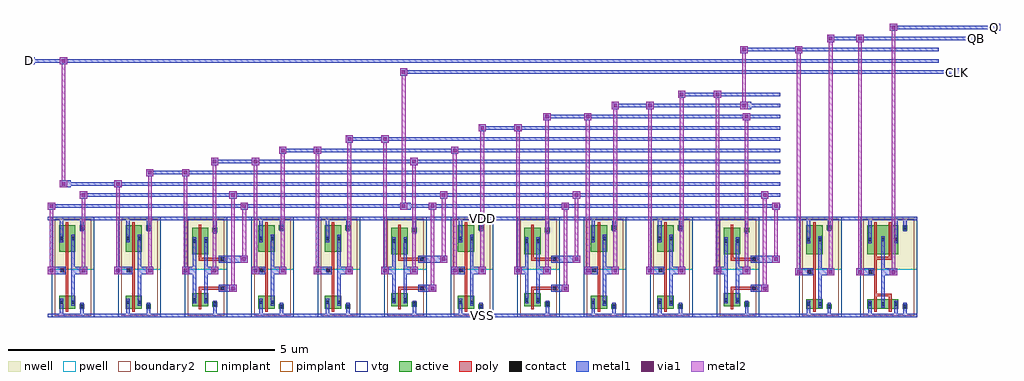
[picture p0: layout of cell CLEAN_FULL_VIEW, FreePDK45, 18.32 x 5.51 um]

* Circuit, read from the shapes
.subckt CLEAN_FULL_VIEW CLK D Q QB VDD VSS
M1 n1 CLK VSS VSS nfet w=0.25u l=0.05u
M2 n2 D VSS VSS nfet w=0.25u l=0.05u
M3 n3 n1 n2 VSS nfet w=0.249u l=0.05u
M4 n4 n3 VSS VSS nfet w=0.25u l=0.05u
M5 n5 n4 VSS VSS nfet w=0.25u l=0.05u
M6 n3 CLK n5 VSS nfet w=0.249u l=0.051u
M7 n6 n4 VSS VSS nfet w=0.25u l=0.05u
M8 n7 CLK n6 VSS nfet w=0.249u l=0.05u
M9 n8 n7 VSS VSS nfet w=0.25u l=0.05u
M10 n9 n8 VSS VSS nfet w=0.25u l=0.051u
M11 n7 n1 n9 VSS nfet w=0.249u l=0.05u
M12 QB n8 VSS VSS nfet w=0.181u l=0.05u
M13 Q QB VSS VSS nfet w=0.181u l=0.05u m=2
M14 n1 CLK VDD VDD pfet w=0.499u l=0.05u
M15 n2 D VDD VDD pfet w=0.499u l=0.05u
M16 n3 CLK n2 VDD pfet w=0.5u l=0.05u
M17 n4 n3 VDD VDD pfet w=0.499u l=0.05u
M18 n5 n4 VDD VDD pfet w=0.499u l=0.05u
M19 n3 n1 n5 VDD pfet w=0.5u l=0.051u
M20 n6 n4 VDD VDD pfet w=0.499u l=0.05u
M21 n7 n1 n6 VDD pfet w=0.5u l=0.05u
M22 n8 n7 VDD VDD pfet w=0.499u l=0.05u
M23 n9 n8 VDD VDD pfet w=0.499u l=0.051u
M24 n7 CLK n9 VDD pfet w=0.5u l=0.05u
M25 QB n8 VDD VDD pfet w=0.54u l=0.05u
M26 Q QB VDD VDD pfet w=0.54u l=0.05u m=2
.ends

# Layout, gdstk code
import gdstk
lib = gdstk.Library(unit=1e-6, precision=1e-09)
def R(c, l, rs):  # rectangles x0, y0, x1, y1
    for r in rs: c.add(gdstk.rectangle(r[:2], r[2:], *l))
def A(c, l, x, y, w, h, nx, ny, dx, dy):  # array of equal rectangles
    R(c, l, [(x+i*dx, y+j*dy, x+i*dx+w, y+j*dy+h) for i in range(nx) for j in range(ny)])
active = (1, 0)
pwell = (2, 0)
nwell = (3, 0)
nimplant = (4, 0)
pimplant = (5, 0)
vtg = (6, 0)
poly = (9, 0)
contact = (10, 0)
metal1 = (11, 0)
via1 = (12, 0)
metal2 = (13, 0)
boundary2 = (239, 0)

clean_full_view = lib.new_cell('CLEAN_FULL_VIEW')
A(clean_full_view, active, 5.197, 0.157, 0.305, 0.25, 3, 1, 2.495, 0)
A(clean_full_view, active, 15.377, 0.202, 0.09, 0.09, 3, 1, 0.245, 0)
A(clean_full_view, active, 5.197, 1.228, 0.305, 0.499, 3, 1, 2.495, 0)
A(clean_full_view, active, 15.377, 1.413, 0.09, 0.089, 3, 1, 0.245, 0)
R(clean_full_view, active, [(0.208,0.157,0.512,0.407), (0.593,0.157,0.683,0.248), (1.455,0.157,1.76,0.407), (1.84,0.157,1.93,0.248), (3.95,0.157,4.255,0.407), (4.335,0.157,4.425,0.248), (5.582,0.157,5.672,0.248), (8.078,0.157,8.167,0.248), (10.572,0.157,10.662,0.248), (11.435,0.157,11.74,0.407), (11.82,0.157,11.91,0.248), (14.23,0.157,14.535,0.338), (14.615,0.157,14.705,0.248), (15.377,0.157,15.957,0.338), (16.037,0.157,16.127,0.248), (3.087,0.202,3.178,0.292), (6.83,0.202,6.92,0.292), (9.325,0.202,9.415,0.292), (13.068,0.202,13.158,0.292), (14.23,0.202,14.32,0.292), (14.445,0.202,14.535,0.292), (2.703,0.203,3.008,0.452), (6.445,0.203,6.75,0.452), (8.94,0.203,9.245,0.452), (12.683,0.203,12.988,0.452), (0.208,0.238,0.297,0.328), (0.422,0.238,0.512,0.328), (1.455,0.238,1.545,0.328), (1.67,0.238,1.76,0.328), (3.95,0.238,4.04,0.328), (4.165,0.238,4.255,0.328), (5.197,0.238,5.287,0.328), (5.412,0.238,5.502,0.328), (7.692,0.238,7.782,0.328), (7.907,0.238,7.997,0.328), (10.187,0.238,10.277,0.328), (10.402,0.238,10.492,0.328), (11.435,0.238,11.525,0.328), (11.65,0.238,11.74,0.328), (2.703,0.282,2.792,0.373), (2.917,0.282,3.008,0.373), (6.445,0.282,6.535,0.373), (6.66,0.282,6.75,0.373), (8.94,0.282,9.03,0.373), (9.155,0.282,9.245,0.373), (12.683,0.282,12.773,0.373), (12.898,0.282,12.988,0.373), (2.703,1.183,3.008,1.683), (6.445,1.183,6.75,1.683), (8.94,1.183,9.245,1.683), (12.683,1.183,12.988,1.683), (14.23,1.187,14.535,1.727), (15.377,1.187,15.957,1.727), (0.208,1.228,0.512,1.727), (1.455,1.228,1.76,1.727), (3.95,1.228,4.255,1.727), (11.435,1.228,11.74,1.727), (2.703,1.388,2.792,1.477), (2.917,1.388,3.008,1.477), (6.445,1.388,6.535,1.477), (6.66,1.388,6.75,1.477), (8.94,1.388,9.03,1.477), (9.155,1.388,9.245,1.477), (12.683,1.388,12.773,1.477), (12.898,1.388,12.988,1.477), (14.23,1.413,14.32,1.502), (14.445,1.413,14.535,1.502), (0.208,1.433,0.297,1.522), (0.422,1.433,0.512,1.522), (1.455,1.433,1.545,1.522), (1.67,1.433,1.76,1.522), (3.95,1.433,4.04,1.522), (4.165,1.433,4.255,1.522), (5.197,1.433,5.287,1.522), (5.412,1.433,5.502,1.522), (7.692,1.433,7.782,1.522), (7.907,1.433,7.997,1.522), (10.187,1.433,10.277,1.522), (10.402,1.433,10.492,1.522), (11.435,1.433,11.525,1.522), (11.65,1.433,11.74,1.522), (3.087,1.592,3.178,1.683), (6.83,1.592,6.92,1.683), (9.325,1.592,9.415,1.683), (13.068,1.592,13.158,1.683), (0.593,1.637,0.683,1.727), (1.84,1.637,1.93,1.727), (4.335,1.637,4.425,1.727), (5.582,1.637,5.672,1.727), (8.078,1.637,8.167,1.727), (10.572,1.637,10.662,1.727), (11.82,1.637,11.91,1.727), (14.615,1.637,14.705,1.727), (16.037,1.637,16.127,1.727)])
A(clean_full_view, pwell, 0.072, 0, 0.798, 0.905, 5, 1, 2.495, 0)
A(clean_full_view, pwell, 1.32, 0, 0.797, 0.905, 5, 1, 2.495, 0)
A(clean_full_view, pwell, 15.322, 0.147, 0.2, 0.201, 3, 1, 0.245, 0)
R(clean_full_view, pwell, [(12.548,0,13.345,0.905), (14.095,0,14.892,0.905), (15.242,0,16.315,0.905), (0.127,0.077,0.593,0.488), (1.375,0.077,1.84,0.488), (3.87,0.077,4.335,0.488), (5.117,0.077,5.582,0.488), (7.612,0.077,8.078,0.488), (10.107,0.077,10.572,0.488), (11.355,0.077,11.82,0.488), (14.15,0.077,14.615,0.417), (15.297,0.077,16.037,0.417), (0.537,0.103,0.738,0.302), (1.785,0.103,1.985,0.302), (4.28,0.103,4.48,0.302), (5.527,0.103,5.727,0.302), (8.023,0.103,8.223,0.302), (10.517,0.103,10.717,0.302), (11.765,0.103,11.965,0.302), (14.56,0.103,14.76,0.302), (15.982,0.103,16.183,0.302), (2.622,0.123,3.087,0.532), (6.365,0.123,6.83,0.532), (8.86,0.123,9.325,0.532), (12.603,0.123,13.068,0.532), (3.033,0.147,3.232,0.348), (6.775,0.147,6.975,0.348), (9.27,0.147,9.47,0.348), (13.013,0.147,13.212,0.348), (14.175,0.147,14.375,0.348), (14.39,0.147,14.59,0.348), (0.152,0.182,0.352,0.382), (0.367,0.182,0.567,0.382), (1.4,0.182,1.6,0.382), (1.615,0.182,1.815,0.382), (3.895,0.182,4.095,0.382), (4.11,0.182,4.31,0.382), (5.142,0.182,5.342,0.382), (5.357,0.182,5.557,0.382), (7.637,0.182,7.837,0.382), (7.852,0.182,8.052,0.382), (10.133,0.182,10.332,0.382), (10.347,0.182,10.547,0.382), (11.38,0.182,11.58,0.382), (11.595,0.182,11.795,0.382), (2.647,0.227,2.848,0.427), (2.862,0.227,3.062,0.427), (6.39,0.227,6.59,0.427), (6.605,0.227,6.805,0.427), (8.885,0.227,9.085,0.427), (9.1,0.227,9.3,0.427), (12.628,0.227,12.828,0.427), (12.843,0.227,13.042,0.427)])
A(clean_full_view, nwell, 5.062, 0.905, 0.798, 0.982, 3, 1, 2.495, 0)
A(clean_full_view, nwell, 15.322, 1.357, 0.2, 0.2, 3, 1, 0.245, 0)
R(clean_full_view, nwell, [(0.072,0.905,0.87,1.887), (1.32,0.905,2.117,1.887), (2.567,0.905,3.365,1.885), (3.815,0.905,4.612,1.887), (6.31,0.905,7.107,1.885), (8.805,0.905,9.602,1.885), (11.3,0.905,12.097,1.887), (12.548,0.905,13.345,1.885), (14.095,0.905,14.892,1.887), (15.242,0.905,16.315,1.887), (2.622,1.103,3.087,1.762), (6.365,1.103,6.83,1.762), (8.86,1.103,9.325,1.762), (12.603,1.103,13.068,1.762), (14.15,1.107,14.615,1.807), (15.297,1.107,16.037,1.807), (0.127,1.147,0.593,1.807), (1.375,1.147,1.84,1.807), (3.87,1.147,4.335,1.807), (5.117,1.147,5.582,1.807), (7.612,1.147,8.078,1.807), (10.107,1.147,10.572,1.807), (11.355,1.147,11.82,1.807), (2.647,1.332,2.848,1.532), (2.862,1.332,3.062,1.532), (6.39,1.332,6.59,1.532), (6.605,1.332,6.805,1.532), (8.885,1.332,9.085,1.532), (9.1,1.332,9.3,1.532), (12.628,1.332,12.828,1.532), (12.843,1.332,13.042,1.532), (14.175,1.357,14.375,1.557), (14.39,1.357,14.59,1.557), (0.152,1.377,0.352,1.577), (0.367,1.377,0.567,1.577), (1.4,1.377,1.6,1.577), (1.615,1.377,1.815,1.577), (3.895,1.377,4.095,1.577), (4.11,1.377,4.31,1.577), (5.142,1.377,5.342,1.577), (5.357,1.377,5.557,1.577), (7.637,1.377,7.837,1.577), (7.852,1.377,8.052,1.577), (10.133,1.377,10.332,1.577), (10.347,1.377,10.547,1.577), (11.38,1.377,11.58,1.577), (11.595,1.377,11.795,1.577), (3.033,1.538,3.232,1.737), (6.775,1.538,6.975,1.737), (9.27,1.538,9.47,1.737), (13.013,1.538,13.212,1.737), (0.537,1.582,0.738,1.782), (1.785,1.582,1.985,1.782), (4.28,1.582,4.48,1.782), (5.527,1.582,5.727,1.782), (8.023,1.582,8.223,1.782), (10.517,1.582,10.717,1.782), (11.765,1.582,11.965,1.782), (14.56,1.582,14.76,1.782), (15.982,1.582,16.183,1.782)])
A(clean_full_view, nimplant, 5.197, 0.157, 0.305, 0.25, 3, 1, 2.495, 0)
A(clean_full_view, nimplant, 15.377, 0.202, 0.09, 0.09, 3, 1, 0.245, 0)
R(clean_full_view, nimplant, [(0.208,0.157,0.512,0.407), (1.455,0.157,1.76,0.407), (3.95,0.157,4.255,0.407), (11.435,0.157,11.74,0.407), (14.23,0.157,14.535,0.338), (15.377,0.157,15.957,0.338), (14.23,0.202,14.32,0.292), (14.445,0.202,14.535,0.292), (2.703,0.203,3.008,0.452), (6.445,0.203,6.75,0.452), (8.94,0.203,9.245,0.452), (12.683,0.203,12.988,0.452), (0.208,0.238,0.297,0.328), (0.422,0.238,0.512,0.328), (1.455,0.238,1.545,0.328), (1.67,0.238,1.76,0.328), (3.95,0.238,4.04,0.328), (4.165,0.238,4.255,0.328), (5.197,0.238,5.287,0.328), (5.412,0.238,5.502,0.328), (7.692,0.238,7.782,0.328), (7.907,0.238,7.997,0.328), (10.187,0.238,10.277,0.328), (10.402,0.238,10.492,0.328), (11.435,0.238,11.525,0.328), (11.65,0.238,11.74,0.328), (2.703,0.282,2.792,0.373), (2.917,0.282,3.008,0.373), (6.445,0.282,6.535,0.373), (6.66,0.282,6.75,0.373), (8.94,0.282,9.03,0.373), (9.155,0.282,9.245,0.373), (12.683,0.282,12.773,0.373), (12.898,0.282,12.988,0.373), (3.087,1.592,3.178,1.683), (6.83,1.592,6.92,1.683), (9.325,1.592,9.415,1.683), (13.068,1.592,13.158,1.683), (0.593,1.637,0.683,1.727), (1.84,1.637,1.93,1.727), (4.335,1.637,4.425,1.727), (5.582,1.637,5.672,1.727), (8.078,1.637,8.167,1.727), (10.572,1.637,10.662,1.727), (11.82,1.637,11.91,1.727), (14.615,1.637,14.705,1.727), (16.037,1.637,16.127,1.727)])
A(clean_full_view, pimplant, 5.197, 1.228, 0.305, 0.499, 3, 1, 2.495, 0)
A(clean_full_view, pimplant, 15.377, 1.413, 0.09, 0.089, 3, 1, 0.245, 0)
R(clean_full_view, pimplant, [(0.593,0.157,0.683,0.248), (1.84,0.157,1.93,0.248), (4.335,0.157,4.425,0.248), (5.582,0.157,5.672,0.248), (8.078,0.157,8.167,0.248), (10.572,0.157,10.662,0.248), (11.82,0.157,11.91,0.248), (14.615,0.157,14.705,0.248), (16.037,0.157,16.127,0.248), (3.087,0.202,3.178,0.292), (6.83,0.202,6.92,0.292), (9.325,0.202,9.415,0.292), (13.068,0.202,13.158,0.292), (2.703,1.183,3.008,1.683), (6.445,1.183,6.75,1.683), (8.94,1.183,9.245,1.683), (12.683,1.183,12.988,1.683), (14.23,1.187,14.535,1.727), (15.377,1.187,15.957,1.727), (0.208,1.228,0.512,1.727), (1.455,1.228,1.76,1.727), (3.95,1.228,4.255,1.727), (11.435,1.228,11.74,1.727), (2.703,1.388,2.792,1.477), (2.917,1.388,3.008,1.477), (6.445,1.388,6.535,1.477), (6.66,1.388,6.75,1.477), (8.94,1.388,9.03,1.477), (9.155,1.388,9.245,1.477), (12.683,1.388,12.773,1.477), (12.898,1.388,12.988,1.477), (14.23,1.413,14.32,1.502), (14.445,1.413,14.535,1.502), (0.208,1.433,0.297,1.522), (0.422,1.433,0.512,1.522), (1.455,1.433,1.545,1.522), (1.67,1.433,1.76,1.522), (3.95,1.433,4.04,1.522), (4.165,1.433,4.255,1.522), (5.197,1.433,5.287,1.522), (5.412,1.433,5.502,1.522), (7.692,1.433,7.782,1.522), (7.907,1.433,7.997,1.522), (10.187,1.433,10.277,1.522), (10.402,1.433,10.492,1.522), (11.435,1.433,11.525,1.522), (11.65,1.433,11.74,1.522)])
A(clean_full_view, vtg, 0.072, 0, 0.798, 0.905, 5, 1, 2.495, 0)
A(clean_full_view, vtg, 1.32, 0, 0.797, 0.905, 5, 1, 2.495, 0)
A(clean_full_view, vtg, 5.062, 0.905, 0.798, 0.982, 3, 1, 2.495, 0)
R(clean_full_view, vtg, [(12.548,0,13.345,0.905), (14.095,0,14.892,0.905), (15.242,0,16.315,0.905), (0.127,0.077,0.593,0.488), (1.375,0.077,1.84,0.488), (3.87,0.077,4.335,0.488), (5.117,0.077,5.582,0.488), (7.612,0.077,8.078,0.488), (10.107,0.077,10.572,0.488), (11.355,0.077,11.82,0.488), (14.15,0.077,14.615,0.417), (15.297,0.077,16.037,0.417), (2.622,0.123,3.087,0.532), (6.365,0.123,6.83,0.532), (8.86,0.123,9.325,0.532), (12.603,0.123,13.068,0.532), (0.072,0.905,0.87,1.887), (1.32,0.905,2.117,1.887), (2.567,0.905,3.365,1.885), (3.815,0.905,4.612,1.887), (6.31,0.905,7.107,1.885), (8.805,0.905,9.602,1.885), (11.3,0.905,12.097,1.887), (12.548,0.905,13.345,1.885), (14.095,0.905,14.892,1.887), (15.242,0.905,16.315,1.887), (2.622,1.103,3.087,1.762), (6.365,1.103,6.83,1.762), (8.86,1.103,9.325,1.762), (12.603,1.103,13.068,1.762), (14.15,1.107,14.615,1.807), (15.297,1.107,16.037,1.807), (0.127,1.147,0.593,1.807), (1.375,1.147,1.84,1.807), (3.87,1.147,4.335,1.807), (5.117,1.147,5.582,1.807), (7.612,1.147,8.078,1.807), (10.107,1.147,10.572,1.807), (11.355,1.147,11.82,1.807)])
A(clean_full_view, poly, 5.325, 0.462, 0.05, 0.711, 3, 1, 2.495, 0)
A(clean_full_view, poly, 5.22, 0.842, 0.075, 0.075, 3, 1, 2.495, 0)
R(clean_full_view, poly, [(0.335,0.103,0.385,0.462), (0.335,0.103,0.385,0.462), (1.582,0.103,1.632,0.462), (1.582,0.103,1.632,0.462), (4.077,0.103,4.127,0.462), (4.077,0.103,4.127,0.462), (5.325,0.103,5.375,0.462), (5.325,0.103,5.375,0.462), (7.82,0.103,7.87,0.462), (7.82,0.103,7.87,0.462), (10.315,0.103,10.365,0.462), (10.315,0.103,10.365,0.462), (11.562,0.103,11.613,0.462), (11.562,0.103,11.613,0.462), (14.357,0.103,14.407,0.392), (14.357,0.103,14.407,0.392), (15.505,0.103,15.555,0.392), (15.78,0.103,15.83,0.392), (2.83,0.148,2.88,0.507), (2.83,0.148,2.88,0.507), (6.572,0.148,6.623,0.507), (6.572,0.148,6.623,0.507), (9.067,0.148,9.117,0.507), (9.067,0.148,9.117,0.507), (12.81,0.148,12.86,0.507), (12.81,0.148,12.86,0.507), (2.83,0.328,2.88,0.545), (6.572,0.328,6.623,0.545), (9.067,0.328,9.117,0.545), (12.81,0.328,12.86,0.545), (14.357,0.392,14.407,1.133), (15.505,0.392,15.83,0.442), (15.505,0.442,15.555,1.083), (0.335,0.462,0.385,1.173), (1.582,0.462,1.632,1.173), (4.077,0.462,4.127,1.173), (11.562,0.462,11.613,1.173), (3.235,0.508,3.31,0.583), (6.977,0.508,7.052,0.583), (9.472,0.508,9.547,0.583), (13.215,0.508,13.29,0.583), (2.83,0.52,2.88,0.57), (2.855,0.52,3.272,0.57), (6.572,0.52,6.623,0.57), (6.597,0.52,7.015,0.57), (9.067,0.52,9.117,0.57), (9.092,0.52,9.51,0.57), (12.81,0.52,12.86,0.57), (12.835,0.52,13.253,0.57), (14.252,0.815,14.327,0.89), (14.29,0.815,14.357,0.89), (15.4,0.815,15.475,0.89), (15.437,0.815,15.505,0.89), (0.23,0.842,0.305,0.917), (0.268,0.842,0.335,0.917), (1.477,0.842,1.552,0.917), (1.515,0.842,1.582,0.917), (3.972,0.842,4.047,0.917), (4.01,0.842,4.077,0.917), (5.257,0.842,5.325,0.917), (7.752,0.842,7.82,0.917), (10.248,0.842,10.315,0.917), (11.457,0.842,11.533,0.917), (11.495,0.842,11.562,0.917), (3.235,1.052,3.31,1.127), (6.977,1.052,7.052,1.127), (9.472,1.052,9.547,1.127), (13.215,1.052,13.29,1.127), (2.83,1.065,2.88,1.115), (2.855,1.065,3.272,1.115), (6.572,1.065,6.623,1.115), (6.597,1.065,7.015,1.115), (9.067,1.065,9.117,1.115), (9.092,1.065,9.51,1.115), (12.81,1.065,12.86,1.115), (12.835,1.065,13.253,1.115), (15.505,1.083,15.83,1.133), (2.83,1.09,2.88,1.433), (6.572,1.09,6.623,1.433), (9.067,1.09,9.117,1.433), (12.81,1.09,12.86,1.433), (2.83,1.128,2.88,1.737), (2.83,1.128,2.88,1.737), (6.572,1.128,6.623,1.737), (6.572,1.128,6.623,1.737), (9.067,1.128,9.117,1.737), (9.067,1.128,9.117,1.737), (12.81,1.128,12.86,1.737), (12.81,1.128,12.86,1.737), (14.357,1.133,14.407,1.782), (14.357,1.133,14.407,1.782), (15.505,1.133,15.555,1.782), (15.78,1.133,15.83,1.782), (0.335,1.173,0.385,1.782), (0.335,1.173,0.385,1.782), (1.582,1.173,1.632,1.782), (1.582,1.173,1.632,1.782), (4.077,1.173,4.127,1.782), (4.077,1.173,4.127,1.782), (5.325,1.173,5.375,1.782), (5.325,1.173,5.375,1.782), (7.82,1.173,7.87,1.782), (7.82,1.173,7.87,1.782), (10.315,1.173,10.365,1.782), (10.315,1.173,10.365,1.782), (11.562,1.173,11.613,1.782), (11.562,1.173,11.613,1.782)])
A(clean_full_view, contact, 5.595, 0.17, 0.065, 0.065, 3, 2, 2.495, 1.48)
A(clean_full_view, contact, 15.39, 0.215, 0.065, 0.065, 3, 2, 0.245, 1.21)
A(clean_full_view, contact, 5.225, 0.847, 0.065, 0.066, 3, 1, 2.495, 0)
R(clean_full_view, contact, [(0.605,0.17,0.67,0.235), (1.852,0.17,1.917,0.235), (4.348,0.17,4.412,0.235), (11.833,0.17,11.898,0.235), (14.628,0.17,14.693,0.235), (16.05,0.17,16.115,0.235), (3.1,0.215,3.165,0.28), (6.842,0.215,6.908,0.28), (9.338,0.215,9.402,0.28), (13.08,0.215,13.145,0.28), (14.242,0.215,14.308,0.28), (14.457,0.215,14.523,0.28), (0.22,0.25,0.285,0.315), (0.435,0.25,0.5,0.315), (1.467,0.25,1.532,0.315), (1.682,0.25,1.747,0.315), (3.962,0.25,4.027,0.315), (4.177,0.25,4.242,0.315), (5.21,0.25,5.275,0.315), (5.425,0.25,5.49,0.315), (7.705,0.25,7.77,0.315), (7.92,0.25,7.985,0.315), (10.2,0.25,10.265,0.315), (10.415,0.25,10.48,0.315), (11.447,0.25,11.513,0.315), (11.662,0.25,11.728,0.315), (2.715,0.295,2.78,0.36), (2.93,0.295,2.995,0.36), (6.458,0.295,6.522,0.36), (6.673,0.295,6.737,0.36), (8.952,0.295,9.017,0.36), (9.167,0.295,9.232,0.36), (12.695,0.295,12.76,0.36), (12.91,0.295,12.975,0.36), (3.24,0.513,3.305,0.578), (6.982,0.513,7.047,0.578), (9.477,0.513,9.542,0.578), (13.22,0.513,13.285,0.578), (14.257,0.82,14.322,0.885), (15.405,0.82,15.47,0.885), (0.235,0.847,0.3,0.913), (1.482,0.847,1.548,0.913), (3.977,0.847,4.042,0.913), (11.462,0.847,11.527,0.913), (3.24,1.057,3.305,1.123), (6.982,1.057,7.047,1.123), (9.477,1.057,9.542,1.123), (13.22,1.057,13.285,1.123), (2.715,1.4,2.78,1.465), (2.93,1.4,2.995,1.465), (6.458,1.4,6.522,1.465), (6.673,1.4,6.737,1.465), (8.952,1.4,9.017,1.465), (9.167,1.4,9.232,1.465), (12.695,1.4,12.76,1.465), (12.91,1.4,12.975,1.465), (14.242,1.425,14.308,1.49), (14.457,1.425,14.523,1.49), (0.22,1.445,0.285,1.51), (0.435,1.445,0.5,1.51), (1.467,1.445,1.532,1.51), (1.682,1.445,1.747,1.51), (3.962,1.445,4.027,1.51), (4.177,1.445,4.242,1.51), (5.21,1.445,5.275,1.51), (5.425,1.445,5.49,1.51), (7.705,1.445,7.77,1.51), (7.92,1.445,7.985,1.51), (10.2,1.445,10.265,1.51), (10.415,1.445,10.48,1.51), (11.447,1.445,11.513,1.51), (11.662,1.445,11.728,1.51), (3.1,1.605,3.165,1.67), (6.842,1.605,6.908,1.67), (9.338,1.605,9.402,1.67), (13.08,1.605,13.145,1.67), (0.605,1.65,0.67,1.715), (1.852,1.65,1.917,1.715), (4.348,1.65,4.412,1.715), (11.833,1.65,11.898,1.715), (14.628,1.65,14.693,1.715), (16.05,1.65,16.115,1.715)])
A(clean_full_view, metal1, 5.21, 0, 0.065, 0.215, 3, 1, 2.495, 0)
A(clean_full_view, metal1, 5.595, 0.033, 0.065, 0.17, 3, 1, 2.495, 0)
A(clean_full_view, metal1, 5.595, 0.135, 0.065, 0.135, 3, 2, 2.495, 1.48)
A(clean_full_view, metal1, 5.425, 0.215, 0.065, 1.33, 3, 1, 2.495, 0)
A(clean_full_view, metal1, 5.457, 0.812, 0.198, 0.135, 3, 1, 2.495, 0)
A(clean_full_view, metal1, 5.19, 0.847, 0.135, 0.066, 3, 1, 2.495, 0)
A(clean_full_view, metal1, 5.21, 1.41, 0.065, 0.475, 3, 1, 2.495, 0)
A(clean_full_view, metal1, 5.595, 1.683, 0.065, 0.169, 3, 1, 2.495, 0)
R(clean_full_view, metal1, [(0,0,16.315,0.065), (0.127,0,0.815,0.065), (0.127,0,0.815,0.065), (0.22,0,0.285,0.215), (0.815,0,1.375,0.065), (1.375,0,2.062,0.065), (1.375,0,2.062,0.065), (1.467,0,1.532,0.215), (2.062,0,2.622,0.065), (2.622,0,3.182,0.065), (2.622,0,3.182,0.065), (3.182,0,3.87,0.065), (3.87,0,4.557,0.065), (3.87,0,4.557,0.065), (3.962,0,4.027,0.215), (4.558,0,5.117,0.065), (5.117,0,5.805,0.065), (5.117,0,5.805,0.065), (5.805,0,6.365,0.065), (6.365,0,6.925,0.065), (6.365,0,6.925,0.065), (6.925,0,7.612,0.065), (7.612,0,8.3,0.065), (7.612,0,8.3,0.065), (8.3,0,8.86,0.065), (8.86,0,9.42,0.065), (8.86,0,9.42,0.065), (9.42,0,10.107,0.065), (10.107,0,10.795,0.065), (10.107,0,10.795,0.065), (10.795,0,11.355,0.065), (11.355,0,12.042,0.065), (11.355,0,12.042,0.065), (11.447,0,11.513,0.215), (12.042,0,12.603,0.065), (12.603,0,13.163,0.065), (12.603,0,13.163,0.065), (13.345,0,14.15,0.065), (14.15,0,14.837,0.065), (14.15,0,14.837,0.065), (14.242,0,14.308,0.18), (14.837,0,15.297,0.065), (15.297,0,16.26,0.065), (15.297,0,16.26,0.065), (15.39,0,15.455,0.18), (15.88,0,15.945,0.18), (0.605,0.033,0.67,0.203), (1.852,0.033,1.917,0.203), (3.1,0.033,3.165,0.247), (4.348,0.033,4.412,0.203), (6.842,0.033,6.908,0.247), (9.338,0.033,9.402,0.247), (11.833,0.033,11.898,0.203), (13.08,0.033,13.145,0.247), (14.628,0.033,14.693,0.203), (16.05,0.033,16.115,0.203), (0.605,0.135,0.67,0.27), (1.852,0.135,1.917,0.27), (4.348,0.135,4.412,0.27), (11.833,0.135,11.898,0.27), (14.628,0.135,14.693,0.27), (16.05,0.135,16.115,0.27), (3.1,0.18,3.165,0.315), (6.842,0.18,6.908,0.315), (9.338,0.18,9.402,0.315), (13.08,0.18,13.145,0.315), (14.242,0.18,14.308,0.315), (14.242,0.18,14.308,0.315), (14.457,0.18,14.523,0.315), (14.457,0.18,14.523,0.315), (14.457,0.18,14.523,1.525), (15.39,0.18,15.455,0.315), (15.39,0.18,15.455,0.315), (15.635,0.18,15.7,0.315), (15.635,0.18,15.7,0.315), (15.635,0.18,15.7,1.525), (15.88,0.18,15.945,0.315), (15.88,0.18,15.945,0.315), (0.22,0.215,0.285,0.35), (0.22,0.215,0.285,0.35), (0.435,0.215,0.5,1.545), (0.435,0.215,0.5,0.35), (0.435,0.215,0.5,0.35), (1.467,0.215,1.532,0.35), (1.467,0.215,1.532,0.35), (1.682,0.215,1.747,1.545), (1.682,0.215,1.747,0.35), (1.682,0.215,1.747,0.35), (3.962,0.215,4.027,0.35), (3.962,0.215,4.027,0.35), (4.177,0.215,4.242,1.545), (4.177,0.215,4.242,0.35), (4.177,0.215,4.242,0.35), (5.21,0.215,5.275,0.35), (5.21,0.215,5.275,0.35), (5.425,0.215,5.49,0.35), (5.425,0.215,5.49,0.35), (7.705,0.215,7.77,0.35), (7.705,0.215,7.77,0.35), (7.92,0.215,7.985,0.35), (7.92,0.215,7.985,0.35), (10.2,0.215,10.265,0.35), (10.2,0.215,10.265,0.35), (10.415,0.215,10.48,0.35), (10.415,0.215,10.48,0.35), (11.447,0.215,11.513,0.35), (11.447,0.215,11.513,0.35), (11.662,0.215,11.728,0.35), (11.662,0.215,11.728,0.35), (11.662,0.215,11.728,1.545), (2.715,0.26,2.78,0.395), (2.715,0.26,2.78,0.395), (2.715,0.26,2.78,1.5), (2.715,0.26,2.78,1.5), (2.93,0.26,2.995,0.395), (2.93,0.26,2.995,0.395), (2.93,0.26,2.995,1.5), (2.93,0.26,2.995,1.5), (6.458,0.26,6.522,0.395), (6.458,0.26,6.522,0.395), (6.458,0.26,6.522,1.5), (6.458,0.26,6.522,1.5), (6.673,0.26,6.737,0.395), (6.673,0.26,6.737,0.395), (6.673,0.26,6.737,1.5), (6.673,0.26,6.737,1.5), (8.952,0.26,9.017,0.395), (8.952,0.26,9.017,0.395), (8.952,0.26,9.017,1.5), (8.952,0.26,9.017,1.5), (9.167,0.26,9.232,0.395), (9.167,0.26,9.232,0.395), (9.167,0.26,9.232,1.5), (9.167,0.26,9.232,1.5), (12.695,0.26,12.76,0.395), (12.695,0.26,12.76,0.395), (12.695,0.26,12.76,1.5), (12.695,0.26,12.76,1.5), (12.91,0.26,12.975,0.395), (12.91,0.26,12.975,0.395), (12.91,0.26,12.975,1.5), (12.91,0.26,12.975,1.5), (3.205,0.478,3.472,0.613), (3.405,0.478,3.54,0.613), (6.947,0.478,7.215,0.613), (7.147,0.478,7.282,0.613), (9.443,0.478,9.71,0.613), (9.642,0.478,9.777,0.613), (13.185,0.478,13.452,0.613), (13.385,0.478,13.52,0.613), (3.205,0.512,3.34,0.578), (3.205,0.512,3.34,0.578), (6.947,0.512,7.083,0.578), (6.947,0.512,7.083,0.578), (9.442,0.512,9.577,0.578), (9.442,0.512,9.577,0.578), (13.185,0.512,13.32,0.578), (13.185,0.512,13.32,0.578), (3.205,0.513,3.34,0.578), (6.947,0.513,7.083,0.578), (9.442,0.513,9.577,0.578), (13.185,0.513,13.32,0.578), (14.023,0.785,14.157,0.92), (14.09,0.785,14.357,0.92), (14.49,0.785,14.687,0.92), (14.62,0.785,14.755,0.92), (15.17,0.785,15.305,0.92), (15.237,0.785,15.505,0.92), (15.667,0.785,15.865,0.92), (15.798,0.785,15.933,0.92), (0,0.812,0.135,0.947), (0.067,0.812,0.335,0.947), (0.468,0.812,0.665,0.947), (0.598,0.812,0.733,0.947), (1.248,0.812,1.383,0.947), (1.315,0.812,1.582,0.947), (1.715,0.812,1.912,0.947), (1.845,0.812,1.98,0.947), (2.515,0.812,2.65,0.947), (2.582,0.812,2.78,0.947), (2.93,0.812,3.127,0.947), (3.06,0.812,3.195,0.947), (3.825,0.812,3.96,0.947), (3.892,0.812,4.077,0.947), (4.21,0.812,4.407,0.947), (4.34,0.812,4.475,0.947), (4.99,0.812,5.125,0.947), (5.057,0.812,5.325,0.947), (5.587,0.812,5.722,0.947), (6.258,0.812,6.392,0.947), (6.325,0.812,6.522,0.947), (6.673,0.812,6.87,0.947), (6.802,0.812,6.937,0.947), (7.567,0.812,7.702,0.947), (7.635,0.812,7.82,0.947), (8.082,0.812,8.217,0.947), (8.752,0.812,8.887,0.947), (8.82,0.812,9.017,0.947), (9.168,0.812,9.365,0.947), (9.297,0.812,9.432,0.947), (10.062,0.812,10.197,0.947), (10.13,0.812,10.315,0.947), (10.578,0.812,10.713,0.947), (11.227,0.812,11.363,0.947), (11.295,0.812,11.562,0.947), (11.695,0.812,11.892,0.947), (11.825,0.812,11.96,0.947), (12.495,0.812,12.63,0.947), (12.562,0.812,12.76,0.947), (12.91,0.812,13.107,0.947), (13.04,0.812,13.175,0.947), (14.222,0.82,14.357,0.885), (14.222,0.82,14.357,0.885), (14.222,0.82,14.357,0.885), (14.49,0.82,14.555,0.885), (14.49,0.82,14.555,0.885), (15.37,0.82,15.505,0.885), (15.37,0.82,15.505,0.885), (15.37,0.82,15.505,0.885), (15.667,0.82,15.732,0.885), (15.667,0.82,15.732,0.885), (0.2,0.847,0.335,0.912), (0.2,0.847,0.335,0.912), (0.2,0.847,0.335,0.913), (0.468,0.847,0.532,0.912), (0.468,0.847,0.532,0.912), (1.447,0.847,1.582,0.912), (1.447,0.847,1.582,0.912), (1.447,0.847,1.582,0.913), (1.715,0.847,1.78,0.912), (1.715,0.847,1.78,0.912), (3.942,0.847,4.077,0.912), (3.942,0.847,4.077,0.912), (3.942,0.847,4.077,0.913), (4.21,0.847,4.275,0.912), (4.21,0.847,4.275,0.912), (5.19,0.847,5.325,0.912), (5.19,0.847,5.325,0.912), (5.457,0.847,5.522,0.912), (5.457,0.847,5.522,0.912), (7.685,0.847,7.82,0.912), (7.685,0.847,7.82,0.912), (7.952,0.847,8.017,0.912), (7.952,0.847,8.017,0.912), (10.18,0.847,10.315,0.912), (10.18,0.847,10.315,0.912), (10.447,0.847,10.512,0.912), (10.447,0.847,10.512,0.912), (11.427,0.847,11.562,0.912), (11.427,0.847,11.562,0.912), (11.427,0.847,11.562,0.913), (11.695,0.847,11.76,0.912), (11.695,0.847,11.76,0.912), (3.205,1.022,3.682,1.157), (3.615,1.022,3.75,1.157), (6.947,1.022,7.425,1.157), (7.357,1.022,7.492,1.157), (9.443,1.022,9.92,1.157), (9.852,1.022,9.988,1.157), (13.185,1.022,13.662,1.157), (13.595,1.022,13.73,1.157), (3.205,1.057,3.34,1.123), (3.205,1.057,3.34,1.123), (3.205,1.057,3.34,1.123), (6.947,1.057,7.083,1.123), (6.947,1.057,7.083,1.123), (6.947,1.057,7.083,1.123), (9.442,1.057,9.577,1.123), (9.442,1.057,9.577,1.123), (9.442,1.057,9.577,1.123), (13.185,1.057,13.32,1.123), (13.185,1.057,13.32,1.123), (13.185,1.057,13.32,1.123), (2.715,1.365,2.78,1.5), (2.715,1.365,2.78,1.5), (2.93,1.365,2.995,1.5), (2.93,1.365,2.995,1.5), (6.458,1.365,6.522,1.5), (6.458,1.365,6.522,1.5), (6.673,1.365,6.737,1.5), (6.673,1.365,6.737,1.5), (8.952,1.365,9.017,1.5), (8.952,1.365,9.017,1.5), (9.167,1.365,9.232,1.5), (9.167,1.365,9.232,1.5), (12.695,1.365,12.76,1.5), (12.695,1.365,12.76,1.5), (12.91,1.365,12.975,1.5), (12.91,1.365,12.975,1.5), (14.242,1.39,14.308,1.525), (14.242,1.39,14.308,1.525), (14.242,1.39,14.308,1.885), (14.457,1.39,14.523,1.525), (14.457,1.39,14.523,1.525), (15.39,1.39,15.455,1.525), (15.39,1.39,15.455,1.525), (15.39,1.39,15.455,1.885), (15.635,1.39,15.7,1.525), (15.635,1.39,15.7,1.525), (15.88,1.39,15.945,1.525), (15.88,1.39,15.945,1.525), (15.88,1.39,15.945,1.885), (0.22,1.41,0.285,1.885), (0.22,1.41,0.285,1.545), (0.22,1.41,0.285,1.545), (0.435,1.41,0.5,1.545), (0.435,1.41,0.5,1.545), (1.467,1.41,1.532,1.885), (1.467,1.41,1.532,1.545), (1.467,1.41,1.532,1.545), (1.682,1.41,1.747,1.545), (1.682,1.41,1.747,1.545), (3.962,1.41,4.027,1.885), (3.962,1.41,4.027,1.545), (3.962,1.41,4.027,1.545), (4.177,1.41,4.242,1.545), (4.177,1.41,4.242,1.545), (5.21,1.41,5.275,1.545), (5.21,1.41,5.275,1.545), (5.425,1.41,5.49,1.545), (5.425,1.41,5.49,1.545), (7.705,1.41,7.77,1.545), (7.705,1.41,7.77,1.545), (7.92,1.41,7.985,1.545), (7.92,1.41,7.985,1.545), (10.2,1.41,10.265,1.545), (10.2,1.41,10.265,1.545), (10.415,1.41,10.48,1.545), (10.415,1.41,10.48,1.545), (11.447,1.41,11.513,1.545), (11.447,1.41,11.513,1.545), (11.447,1.41,11.513,1.885), (11.662,1.41,11.728,1.545), (11.662,1.41,11.728,1.545), (3.1,1.57,3.165,1.705), (6.842,1.57,6.908,1.705), (9.338,1.57,9.402,1.705), (13.08,1.57,13.145,1.705), (0.605,1.615,0.67,1.75), (1.852,1.615,1.917,1.75), (4.348,1.615,4.412,1.75), (11.833,1.615,11.898,1.75), (14.628,1.615,14.693,1.75), (16.05,1.615,16.115,1.75), (3.1,1.637,3.165,1.852), (6.842,1.637,6.908,1.852), (9.338,1.637,9.402,1.852), (13.08,1.637,13.145,1.852), (0.605,1.683,0.67,1.852), (1.852,1.683,1.917,1.852), (4.348,1.683,4.412,1.852), (11.833,1.683,11.898,1.852), (14.628,1.683,14.693,1.852), (16.05,1.683,16.115,1.852), (0,1.82,16.315,1.885), (0.127,1.82,0.815,1.885), (0.127,1.82,0.815,1.885), (0.815,1.82,1.375,1.885), (1.375,1.82,2.062,1.885), (1.375,1.82,2.062,1.885), (2.062,1.82,2.622,1.885), (2.622,1.82,3.182,1.885), (2.622,1.82,3.182,1.885), (3.182,1.82,3.87,1.885), (3.87,1.82,4.557,1.885), (3.87,1.82,4.557,1.885), (4.558,1.82,5.117,1.885), (5.117,1.82,5.805,1.885), (5.117,1.82,5.805,1.885), (5.805,1.82,6.365,1.885), (6.365,1.82,6.925,1.885), (6.365,1.82,6.925,1.885), (6.925,1.82,7.612,1.885), (7.612,1.82,8.3,1.885), (7.612,1.82,8.3,1.885), (8.3,1.82,8.86,1.885), (8.86,1.82,9.42,1.885), (8.86,1.82,9.42,1.885), (9.42,1.82,10.107,1.885), (10.107,1.82,10.795,1.885), (10.107,1.82,10.795,1.885), (10.795,1.82,11.355,1.885), (11.355,1.82,12.042,1.885), (11.355,1.82,12.042,1.885), (12.042,1.82,12.603,1.885), (12.603,1.82,13.163,1.885), (12.603,1.82,13.163,1.885), (13.345,1.82,14.15,1.885), (14.15,1.82,14.837,1.885), (14.15,1.82,14.837,1.885), (14.837,1.82,15.297,1.885), (15.297,1.82,16.26,1.885), (15.297,1.82,16.26,1.885), (0,2.017,0.135,2.152), (3.615,2.017,3.75,2.152), (6.607,2.017,6.742,2.152), (6.607,2.017,6.807,2.152), (7.147,2.017,7.282,2.152), (9.642,2.017,9.777,2.152), (13.595,2.017,13.73,2.152), (0.067,2.053,13.745,2.118), (0.598,2.228,0.733,2.363), (3.405,2.228,3.54,2.363), (7.357,2.228,7.492,2.363), (9.852,2.228,9.988,2.363), (13.385,2.228,13.52,2.363), (0.665,2.263,13.745,2.328), (0.222,2.437,0.357,2.573), (0.222,2.437,0.423,2.573), (1.248,2.437,1.383,2.573), (0.222,2.473,13.745,2.538), (1.845,2.647,1.98,2.783), (2.515,2.647,2.65,2.783), (1.912,2.683,13.745,2.747), (3.06,2.857,3.195,2.993), (3.825,2.857,3.96,2.993), (6.802,2.857,6.937,2.993), (3.127,2.892,13.745,2.957), (4.34,3.067,4.475,3.202), (4.99,3.067,5.125,3.202), (7.567,3.067,7.702,3.202), (4.407,3.102,13.745,3.167), (5.587,3.277,5.722,3.412), (6.258,3.277,6.392,3.412), (5.655,3.312,13.745,3.377), (8.082,3.488,8.217,3.622), (8.752,3.488,8.887,3.622), (8.15,3.522,13.745,3.587), (9.297,3.698,9.432,3.832), (10.062,3.698,10.197,3.832), (13.04,3.698,13.175,3.832), (9.365,3.732,13.745,3.797), (10.578,3.907,10.713,4.043), (11.227,3.907,11.363,4.043), (12.995,3.907,13.13,4.043), (12.995,3.907,13.195,4.043), (10.645,3.942,13.745,4.008), (11.825,4.117,11.96,4.253), (12.495,4.117,12.63,4.253), (11.892,4.152,13.745,4.218), (6.607,4.535,6.742,4.67), (16.965,4.535,17.165,4.67), (6.675,4.57,17.165,4.635), (-0.45,4.745,-0.25,4.88), (0.222,4.745,0.357,4.88), (-0.45,4.78,16.715,4.845), (12.995,4.955,13.13,5.09), (14.023,4.955,14.157,5.09), (13.062,4.99,16.715,5.055), (14.62,5.165,14.755,5.3), (15.17,5.165,15.305,5.3), (17.315,5.165,17.515,5.3), (14.687,5.2,17.515,5.265), (15.798,5.375,15.933,5.51), (17.665,5.375,17.865,5.51), (15.865,5.41,17.865,5.475)])
R(clean_full_view, via1, [(3.44,0.512,3.505,0.578), (7.182,0.512,7.247,0.578), (9.678,0.512,9.742,0.578), (13.42,0.512,13.485,0.578), (14.058,0.82,14.122,0.885), (14.655,0.82,14.72,0.885), (15.205,0.82,15.27,0.885), (15.832,0.82,15.897,0.885), (0.035,0.847,0.1,0.912), (0.633,0.847,0.697,0.912), (1.282,0.847,1.348,0.912), (1.88,0.847,1.945,0.912), (2.55,0.847,2.615,0.912), (3.095,0.847,3.16,0.912), (3.86,0.847,3.925,0.912), (4.375,0.847,4.44,0.912), (5.025,0.847,5.09,0.912), (5.622,0.847,5.687,0.912), (6.292,0.847,6.357,0.912), (6.838,0.847,6.902,0.912), (7.602,0.847,7.667,0.912), (8.117,0.847,8.182,0.912), (8.787,0.847,8.852,0.912), (9.332,0.847,9.398,0.912), (10.097,0.847,10.162,0.912), (10.613,0.847,10.677,0.912), (11.262,0.847,11.328,0.912), (11.86,0.847,11.925,0.912), (12.53,0.847,12.595,0.912), (13.075,0.847,13.14,0.912), (3.65,1.058,3.715,1.123), (7.392,1.058,7.457,1.123), (9.887,1.058,9.953,1.123), (13.63,1.058,13.695,1.123), (0.035,2.053,0.1,2.118), (3.65,2.053,3.715,2.118), (6.642,2.053,6.708,2.118), (7.182,2.053,7.247,2.118), (9.678,2.053,9.742,2.118), (13.63,2.053,13.695,2.118), (0.633,2.263,0.697,2.328), (3.44,2.263,3.505,2.328), (7.392,2.263,7.457,2.328), (9.887,2.263,9.953,2.328), (13.42,2.263,13.485,2.328), (0.258,2.473,0.323,2.538), (1.282,2.473,1.348,2.538), (1.88,2.683,1.945,2.747), (2.55,2.683,2.615,2.747), (3.095,2.892,3.16,2.957), (3.86,2.892,3.925,2.957), (6.838,2.892,6.902,2.957), (4.375,3.102,4.44,3.167), (5.025,3.102,5.09,3.167), (7.602,3.102,7.667,3.167), (5.622,3.312,5.687,3.377), (6.292,3.312,6.357,3.377), (8.117,3.522,8.182,3.587), (8.787,3.522,8.852,3.587), (9.332,3.732,9.398,3.797), (10.097,3.732,10.162,3.797), (13.075,3.732,13.14,3.797), (10.613,3.942,10.677,4.008), (11.262,3.942,11.328,4.008), (13.03,3.942,13.095,4.008), (11.86,4.152,11.925,4.218), (12.53,4.152,12.595,4.218), (6.642,4.57,6.708,4.635), (0.258,4.78,0.323,4.845), (13.03,4.99,13.095,5.055), (14.058,4.99,14.122,5.055), (14.655,5.2,14.72,5.265), (15.205,5.2,15.27,5.265), (15.832,5.41,15.897,5.475)])
R(clean_full_view, metal2, [(3.405,0.478,3.54,0.613), (7.147,0.478,7.282,0.613), (9.642,0.478,9.777,0.613), (13.385,0.478,13.52,0.613), (3.437,0.613,3.507,2.228), (7.18,0.613,7.25,2.017), (9.675,0.613,9.745,2.017), (13.417,0.613,13.488,2.228), (14.023,0.785,14.157,0.92), (14.62,0.785,14.755,0.92), (15.17,0.785,15.305,0.92), (15.798,0.785,15.933,0.92), (0,0.812,0.135,0.947), (0.598,0.812,0.733,0.947), (1.248,0.812,1.383,0.947), (1.845,0.812,1.98,0.947), (2.515,0.812,2.65,0.947), (3.06,0.812,3.195,0.947), (3.825,0.812,3.96,0.947), (4.34,0.812,4.475,0.947), (4.99,0.812,5.125,0.947), (5.587,0.812,5.722,0.947), (6.258,0.812,6.392,0.947), (6.802,0.812,6.937,0.947), (7.567,0.812,7.702,0.947), (8.082,0.812,8.217,0.947), (8.752,0.812,8.887,0.947), (9.297,0.812,9.432,0.947), (10.062,0.812,10.197,0.947), (10.578,0.812,10.713,0.947), (11.227,0.812,11.363,0.947), (11.825,0.812,11.96,0.947), (12.495,0.812,12.63,0.947), (13.04,0.812,13.175,0.947), (14.055,0.92,14.125,4.955), (14.652,0.92,14.722,5.165), (15.202,0.92,15.273,5.165), (15.83,0.92,15.9,5.375), (0.032,0.947,0.102,2.017), (0.63,0.947,0.7,2.228), (1.28,0.947,1.35,2.437), (1.877,0.947,1.947,2.647), (2.547,0.947,2.617,2.647), (3.092,0.947,3.162,2.857), (3.857,0.947,3.927,2.857), (4.372,0.947,4.442,3.067), (5.022,0.947,5.093,3.067), (5.62,0.947,5.69,3.277), (6.29,0.947,6.36,3.277), (6.835,0.947,6.905,2.857), (7.6,0.947,7.67,3.067), (8.115,0.947,8.185,3.488), (8.785,0.947,8.855,3.488), (9.33,0.947,9.4,3.698), (10.095,0.947,10.165,3.698), (10.61,0.947,10.68,3.907), (11.26,0.947,11.33,3.907), (11.857,0.947,11.927,4.117), (12.527,0.947,12.597,4.117), (13.072,0.947,13.142,3.698), (3.615,1.022,3.75,1.157), (7.357,1.022,7.492,1.157), (9.852,1.022,9.988,1.157), (13.595,1.022,13.73,1.157), (3.647,1.157,3.717,2.017), (7.39,1.157,7.46,2.228), (9.885,1.157,9.955,2.228), (13.627,1.157,13.697,2.017), (0,2.017,0.135,2.152), (3.615,2.017,3.75,2.152), (6.607,2.017,6.742,2.152), (7.147,2.017,7.282,2.152), (9.642,2.017,9.777,2.152), (13.595,2.017,13.73,2.152), (6.64,2.152,6.71,4.535), (0.598,2.228,0.733,2.363), (3.405,2.228,3.54,2.363), (7.357,2.228,7.492,2.363), (9.852,2.228,9.988,2.363), (13.385,2.228,13.52,2.363), (0.222,2.437,0.357,2.573), (1.248,2.437,1.383,2.573), (0.255,2.573,0.325,4.745), (1.845,2.647,1.98,2.783), (2.515,2.647,2.65,2.783), (3.06,2.857,3.195,2.993), (3.825,2.857,3.96,2.993), (6.802,2.857,6.937,2.993), (4.34,3.067,4.475,3.202), (4.99,3.067,5.125,3.202), (7.567,3.067,7.702,3.202), (5.587,3.277,5.722,3.412), (6.258,3.277,6.392,3.412), (8.082,3.488,8.217,3.622), (8.752,3.488,8.887,3.622), (9.297,3.698,9.432,3.832), (10.062,3.698,10.197,3.832), (13.04,3.698,13.175,3.832), (10.578,3.907,10.713,4.043), (11.227,3.907,11.363,4.043), (12.995,3.907,13.13,4.043), (13.027,4.043,13.097,4.955), (11.825,4.117,11.96,4.253), (12.495,4.117,12.63,4.253), (6.607,4.535,6.742,4.67), (0.222,4.745,0.357,4.88), (12.995,4.955,13.13,5.09), (14.023,4.955,14.157,5.09), (14.62,5.165,14.755,5.3), (15.17,5.165,15.305,5.3), (15.798,5.375,15.933,5.51)])
A(clean_full_view, boundary2, 15.322, 0.147, 0.2, 0.201, 3, 1, 0.245, 0)
A(clean_full_view, boundary2, 5.19, 0.842, 0.135, 0.075, 3, 1, 2.495, 0)
A(clean_full_view, boundary2, 15.322, 1.357, 0.2, 0.2, 3, 1, 0.245, 0)
R(clean_full_view, boundary2, [(0.127,0.033,0.815,1.852), (0.127,0.033,0.815,1.852), (0.127,0.033,0.815,1.852), (1.375,0.033,2.062,1.852), (1.375,0.033,2.062,1.852), (1.375,0.033,2.062,1.852), (2.622,0.033,3.31,1.852), (2.622,0.033,3.31,1.852), (2.622,0.033,3.31,1.852), (3.87,0.033,4.557,1.852), (3.87,0.033,4.557,1.852), (3.87,0.033,4.557,1.852), (5.117,0.033,5.805,1.852), (5.117,0.033,5.805,1.852), (5.117,0.033,5.805,1.852), (6.365,0.033,7.052,1.852), (6.365,0.033,7.052,1.852), (6.365,0.033,7.052,1.852), (7.612,0.033,8.3,1.852), (7.612,0.033,8.3,1.852), (7.612,0.033,8.3,1.852), (8.86,0.033,9.547,1.852), (8.86,0.033,9.547,1.852), (8.86,0.033,9.547,1.852), (10.107,0.033,10.795,1.852), (10.107,0.033,10.795,1.852), (10.107,0.033,10.795,1.852), (11.355,0.033,12.042,1.852), (11.355,0.033,12.042,1.852), (11.355,0.033,12.042,1.852), (12.603,0.033,13.29,1.852), (12.603,0.033,13.29,1.852), (12.603,0.033,13.29,1.852), (14.15,0.033,14.837,1.852), (14.15,0.033,14.837,1.852), (14.15,0.033,14.837,1.852), (15.297,0.033,16.26,1.852), (15.297,0.033,16.26,1.852), (15.297,0.033,16.26,1.852), (0.127,0.077,0.593,0.488), (1.375,0.077,1.84,0.488), (3.87,0.077,4.335,0.488), (5.117,0.077,5.582,0.488), (7.612,0.077,8.078,0.488), (10.107,0.077,10.572,0.488), (11.355,0.077,11.82,0.488), (14.15,0.077,14.615,0.417), (15.297,0.077,16.037,0.442), (0.537,0.103,0.738,0.302), (1.785,0.103,1.985,0.302), (4.28,0.103,4.48,0.302), (5.527,0.103,5.727,0.302), (8.023,0.103,8.223,0.302), (10.517,0.103,10.717,0.302), (11.765,0.103,11.965,0.302), (14.56,0.103,14.76,0.302), (15.982,0.103,16.183,0.302), (2.622,0.123,3.087,0.532), (6.365,0.123,6.83,0.532), (8.86,0.123,9.325,0.532), (12.603,0.123,13.068,0.532), (3.033,0.147,3.232,0.348), (6.775,0.147,6.975,0.348), (9.27,0.147,9.47,0.348), (13.013,0.147,13.212,0.348), (14.175,0.147,14.375,0.348), (14.39,0.147,14.59,0.348), (0.152,0.182,0.352,0.382), (0.367,0.182,0.567,0.382), (1.4,0.182,1.6,0.382), (1.615,0.182,1.815,0.382), (3.895,0.182,4.095,0.382), (4.11,0.182,4.31,0.382), (5.142,0.182,5.342,0.382), (5.357,0.182,5.557,0.382), (7.637,0.182,7.837,0.382), (7.852,0.182,8.052,0.382), (10.133,0.182,10.332,0.382), (10.347,0.182,10.547,0.382), (11.38,0.182,11.58,0.382), (11.595,0.182,11.795,0.382), (2.647,0.227,2.848,0.427), (2.862,0.227,3.062,0.427), (6.39,0.227,6.59,0.427), (6.605,0.227,6.805,0.427), (8.885,0.227,9.085,0.427), (9.1,0.227,9.3,0.427), (12.628,0.227,12.828,0.427), (12.843,0.227,13.042,0.427), (3.205,0.508,3.34,0.583), (6.947,0.508,7.083,0.583), (9.442,0.508,9.577,0.583), (13.185,0.508,13.32,0.583), (14.222,0.815,14.357,0.89), (15.37,0.815,15.505,0.89), (0.2,0.842,0.335,0.917), (1.447,0.842,1.582,0.917), (3.942,0.842,4.077,0.917), (11.427,0.842,11.562,0.917), (3.205,1.052,3.34,1.127), (6.947,1.052,7.083,1.127), (9.442,1.052,9.577,1.127), (13.185,1.052,13.32,1.127), (15.297,1.083,16.037,1.807), (2.622,1.103,3.087,1.762), (6.365,1.103,6.83,1.762), (8.86,1.103,9.325,1.762), (12.603,1.103,13.068,1.762), (14.15,1.107,14.615,1.807), (0.127,1.147,0.593,1.807), (1.375,1.147,1.84,1.807), (3.87,1.147,4.335,1.807), (5.117,1.147,5.582,1.807), (7.612,1.147,8.078,1.807), (10.107,1.147,10.572,1.807), (11.355,1.147,11.82,1.807), (2.647,1.332,2.848,1.532), (2.862,1.332,3.062,1.532), (6.39,1.332,6.59,1.532), (6.605,1.332,6.805,1.532), (8.885,1.332,9.085,1.532), (9.1,1.332,9.3,1.532), (12.628,1.332,12.828,1.532), (12.843,1.332,13.042,1.532), (14.175,1.357,14.375,1.557), (14.39,1.357,14.59,1.557), (0.152,1.377,0.352,1.577), (0.367,1.377,0.567,1.577), (1.4,1.377,1.6,1.577), (1.615,1.377,1.815,1.577), (3.895,1.377,4.095,1.577), (4.11,1.377,4.31,1.577), (5.142,1.377,5.342,1.577), (5.357,1.377,5.557,1.577), (7.637,1.377,7.837,1.577), (7.852,1.377,8.052,1.577), (10.133,1.377,10.332,1.577), (10.347,1.377,10.547,1.577), (11.38,1.377,11.58,1.577), (11.595,1.377,11.795,1.577), (3.033,1.538,3.232,1.737), (6.775,1.538,6.975,1.737), (9.27,1.538,9.47,1.737), (13.013,1.538,13.212,1.737), (0.537,1.582,0.738,1.782), (1.785,1.582,1.985,1.782), (4.28,1.582,4.48,1.782), (5.527,1.582,5.727,1.782), (8.023,1.582,8.223,1.782), (10.517,1.582,10.717,1.782), (11.765,1.582,11.965,1.782), (14.56,1.582,14.76,1.782), (15.982,1.582,16.183,1.782)])
clean_full_view.add(gdstk.Label('CLK', (17.065,4.602), layer=11, texttype=0))
clean_full_view.add(gdstk.Label('D', (-0.35,4.812), layer=11, texttype=0))
clean_full_view.add(gdstk.Label('QB', (17.415,5.232), layer=11, texttype=0))
clean_full_view.add(gdstk.Label('Q', (17.765,5.442), layer=11, texttype=0))
clean_full_view.add(gdstk.Label('VDD', (8.158,1.852), layer=11, texttype=0))
clean_full_view.add(gdstk.Label('VSS', (8.158,0.033), layer=11, texttype=0))

lib.write_gds('CLEAN_FULL_VIEW.gds')
